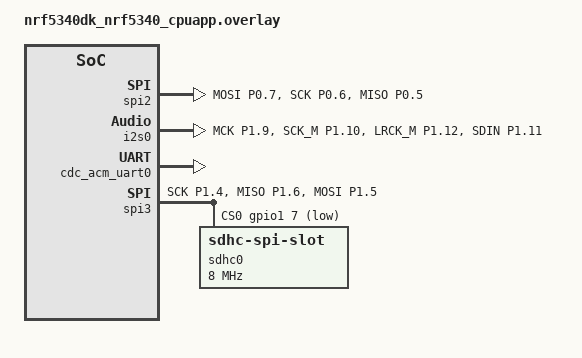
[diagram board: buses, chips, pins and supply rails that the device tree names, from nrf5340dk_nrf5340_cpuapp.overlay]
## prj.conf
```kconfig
#
# Copyright (c) 2019 Nordic Semiconductor ASA
#
# SPDX-License-Identifier: LicenseRef-BSD-5-Clause-Nordic
#
# General config
CONFIG_ASSERT=y

CONFIG_USE_SEGGER_RTT=y

# RTT
# CONFIG_USE_SEGGER_RTT=y
CONFIG_RTT_CONSOLE=y
CONFIG_UART_CONSOLE=n

# Logging
# CONFIG_UART_CONSOLE=y
CONFIG_SERIAL=y

# Stacks and heaps
CONFIG_MAIN_STACK_SIZE= 4096
CONFIG_HEAP_MEM_POOL_SIZE= 4096
CONFIG_SYSTEM_WORKQUEUE_STACK_SIZE=4096

CONFIG_SPI=y

# I2S
CONFIG_I2S=y

# Rebooot
CONFIG_REBOOT=n
CONFIG_RESET_ON_FATAL_ERROR=n

# printk float
CONFIG_FPU=y

# debug
CONFIG_DEBUG=y

# usb uart
CONFIG_STDOUT_CONSOLE=y
CONFIG_LOG=n
CONFIG_SERIAL=y
CONFIG_UART_INTERRUPT_DRIVEN=y
CONFIG_UART_LINE_CTRL=y

CONFIG_UART_INTERRUPT_DRIVEN=y
CONFIG_UART_LINE_CTRL=y

CONFIG_USB_DEVICE_STACK=y
CONFIG_USB_DEVICE_PRODUCT="bat_tag"
CONFIG_USB_DEVICE_PID=0x0002
CONFIG_USB_COMPOSITE_DEVICE=y
CONFIG_USB_CDC_ACM_RINGBUF_SIZE=512
CONFIG_USB_DEVICE_INITIALIZE_AT_BOOT=n

# SD card
CONFIG_DISK_DRIVER_SDMMC=y
CONFIG_FILE_SYSTEM=y
CONFIG_FAT_FILESYSTEM_ELM=y

############################# bluetooth

CONFIG_BT=y
CONFIG_BT_PERIPHERAL=y
CONFIG_BT_DEVICE_NAME="Bat_tag"
CONFIG_BT_DEVICE_APPEARANCE=833
CONFIG_BT_MAX_CONN=1
CONFIG_BT_MAX_PAIRED=1

# Enable the NUS service
CONFIG_BT_NUS=y

# Enable bonding
CONFIG_BT_SETTINGS=y
CONFIG_FLASH=y
CONFIG_FLASH_PAGE_LAYOUT=y
CONFIG_FLASH_MAP=y
CONFIG_NVS=y
CONFIG_SETTINGS=y

# Enable DK LED and Buttons library
CONFIG_DK_LIBRARY=y

# secure
CONFIG_BT_SMP=y

#
# Try to increase the MTU (max transmission unit) beyond the default 20.
# https://devzone.nordicsemi.com/f/nordic-q-a/84487/ble-uart-nus-altering-mtu-and-faster-interval
#
CONFIG_BT_BUF_ACL_RX_SIZE=251
CONFIG_BT_ATT_PREPARE_COUNT=2
#CONFIG_BT_CONN_TX_MAX=10
CONFIG_BT_L2CAP_TX_BUF_COUNT=10
CONFIG_BT_L2CAP_TX_MTU=247
#CONFIG_BT_L2CAP_DYNAMIC_CHANNEL=y
CONFIG_BT_CTLR_RX_BUFFERS=2
CONFIG_BT_BUF_ACL_TX_COUNT=10
CONFIG_BT_BUF_ACL_TX_SIZE=251
CONFIG_BT_CTLR_DATA_LENGTH_MAX=251

# This gets us direct access to the lower level GATT functions.
CONFIG_BT_GATT_CLIENT=y
CONFIG_BT_USER_PHY_UPDATE=y
CONFIG_BT_USER_DATA_LEN_UPDATE=y


# Use 2Mbps radio speed.
CONFIG_BT_CTLR_PHY_2M=y
CONFIG_MAIN_STACK_SIZE= 2048
```

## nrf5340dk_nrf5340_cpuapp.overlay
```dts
/*
Only one of the following peripherals can be enabled: SPI1, SPIM1, SPIS1, TWI1, TWIM1, TWIS1, UARTE1
if instance x (where 0<=x<=3) is used by one of the peripherals, none of the other peripherals can use the same instance.
https://devzone.nordicsemi.com/f/nordic-q-a/62899/nrf9160---only-one-of-the-following-peripherals-can-be-enabled-spi1-uarte1-why
*/

// ICM42688
spi_dev2: &spi2 {
	status = "okay";
	cs-gpios = <&gpio0 4 GPIO_ACTIVE_LOW>;
	compatible = "nordic,nrf-spim";
	pinctrl-0 = <&spi2_default>;
	pinctrl-1 = <&spi2_sleep>;
	pinctrl-names = "default", "sleep";
	// clock-frequency = <8000000>; 
};

//////////////////////////////// Microphone
//////// PDM interface
// &clock {
// 	hfclkaudio-frequency = <11289600>;
// };


///////// I2S interface
i2s_rx_dev: &i2s0 {
	status = "okay";
	pinctrl-0 = <&i2s0_default>;
	pinctrl-names = "default";
	// clock-source = "ACLK";
};

&pinctrl {
	spi2_default: spi2_default{
		group1 {
			psels = <NRF_PSEL(SPIM_MOSI, 0, 7)>,
				<NRF_PSEL(SPIM_SCK, 0, 6)>,
				<NRF_PSEL(SPIM_MISO, 0, 5)>;
		};
	};

	spi2_sleep: spi2_sleep{
		group1 {
			psels = <NRF_PSEL(SPIM_MOSI, 0, 7)>,
				<NRF_PSEL(SPIM_SCK, 0, 6)>,
				<NRF_PSEL(SPIM_MISO, 0, 5)>;
			low-power-enable;
		};
	};


	// We now use I2S interface instead of PDM to get bit stream
	i2s0_default: i2s0_default{
		group1{
			// need to define MCK, LRCK_M, even though we don't wire them with PDM mic
			// otherwise I2S driver will not work
			psels = <NRF_PSEL(I2S_MCK,1,9)>,
					<NRF_PSEL(I2S_SCK_M,1,10)>,
					<NRF_PSEL(I2S_LRCK_M,1,12)>,
					<NRF_PSEL(I2S_SDIN,1,11)>;				
		};
	};

	spi3_default: spi3_default{
		group1 {
			psels = <NRF_PSEL(SPIM_SCK, 1, 4)>,
					<NRF_PSEL(SPIM_MISO, 1, 6)>,
					<NRF_PSEL(SPIM_MOSI, 1, 5)>;
		};
	};
};

// UART
&zephyr_udc0 {
	cdc_acm_uart0: cdc_acm_uart0 {
		compatible = "zephyr,cdc-acm-uart";
	};
};


// SD card with SPI interface
&spi3 {
	status = "okay";
	cs-gpios = <&gpio1 7 GPIO_ACTIVE_LOW>;
	pinctrl-0 = <&spi3_default>;
	pinctrl-names = "default";
	sdhc0: sdhc@0 {
			compatible = "zephyr,sdhc-spi-slot";
			reg = <0>;
			status = "okay";
			mmc {
				compatible = "zephyr,sdmmc-disk";
				status = "okay";
			};
			spi-max-frequency = <8000000>;
	};
};
```

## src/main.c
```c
#include "icm42688.h"
#include "pdm_microphone.h"

#ifndef BT_H
#define BT_H 1
#include "bt.h"
#endif

#ifndef SDCARD_H
#define SDCARD_H 1
#include "SDcard.h"
#endif

#include <nrfx_log.h>
#include <nrfx_gpiote.h>

/////////////////////////////////////////////////////////////////////////// Define circular buffer
#define N_circular_buf 1024
typedef struct {
    short *buf; // actuall capacity = N-1
    int write_idx; // idx to write into circular buf
    int read_idx; // idx to read out from circular buf
} circular_buf;

static short imu_cbuf[N_circular_buf]; // IMU circular buffer
// IMU sample data circular buffer
circular_buf imu_circle_buf = {
    .buf = imu_cbuf,
    .write_idx = 0,
    .read_idx = 0
};

static uint16_t imu_count_idx[1]={0};
static short imu_count_buf[N_circular_buf]; // IMU count circular buffer
// IMU sample count circular buffer
circular_buf count_circle_buf = {
    .buf = imu_count_buf,
    .write_idx = 0,
    .read_idx = 0
};

bool is_empty(circular_buf *buf) {
    if (buf->read_idx == buf->write_idx) {
        return true;
    }
    else {
        return false;
    }
}

bool is_full(circular_buf *buf) {
    if ((buf->write_idx + 1) % N_circular_buf == buf->read_idx) {
        return true;
    }
    else {
        return false;
    }
}

int buf_length(circular_buf *buf) {
    // NRF_GPIOTE->INTENCLR |= 0x00000080;
    int temp = (buf->write_idx - buf->read_idx + N_circular_buf) % N_circular_buf;
    // NRF_GPIOTE->INTENSET |= 0x00000080;
    return temp;
}

int write_in_buf(circular_buf *buf, short *value, int L) {
    // L should be sizeof(value)/sizeof(short)
    if (L + buf_length(buf) > N_circular_buf-1) {
        printk("circular_buf out of range\n");
        return -1;
    }
    
    for (int i = 0;i < L;i++) {
        buf->buf[buf->write_idx] = value[i];
        buf->write_idx = (buf->write_idx + 1) % N_circular_buf;
    }
    return 0;
}

int read_out_buf(circular_buf *buf, short *value, uint16_t *buf_l) {
    uint16_t L = (uint16_t)buf_length(buf);
    buf_l[0] = L;
    for (int i=0;i<L;i++) {
        value[i] = buf->buf[buf->read_idx];
        buf->read_idx = (buf->read_idx + 1) % N_circular_buf;
    }
    // if (L > 0) {
    //     printk("buf_length=%d\n, write_idx=%d, read_idx=%d\n",L, buf->write_idx, buf->read_idx);
    // }
    return 0;
}
/////////////////////////////////////////////////////////////////////////// finish define circular buf


/// SD card data file
static struct fs_file_t mic_file, imu_file, imu_t_file, imu_count_file;

static short imu_rbuf[6]; // small read buf to get direct data each time IRQ
static short imu_buf[N_circular_buf]; // IMU buffer
static short imu_cw_buf[N_circular_buf]; // IMU count write buffer
static int32_t imu_t[1]; // timestamp for each IMU sample
// static short *imu_p = &imu_buf[0]; // pointer to current buffer head
static uint16_t ICM_count = 0; // sample count within the buffer, be really careful with uint8_t and int8_t
static uint16_t ICM_cw=0;

/////// ICM thread
struct k_thread ICM_thread_data;
/*ICM processing thread*/
#define ICM_THREAD_STACK_SIZE 2048
/* ICM thread is a priority cooperative thread, less than PDM mic*/
#define ICM_THREAD_PRIORITY -16
K_THREAD_STACK_DEFINE(ICM_thread_stack_area, ICM_THREAD_STACK_SIZE);
K_SEM_DEFINE(ICM_thread_semaphore, 0, 1);
K_SEM_DEFINE(processing_thread_semaphore, 0, 1);
// K_SEM_DEFINE(ICM_write_semaphore, 1, 1);

static void ICM_thread_entry_point(void *p1, void *p2, void *p3) {
    while (true) {
        if (k_sem_take(&ICM_thread_semaphore, K_FOREVER) == 0) {
            
            // NRF_P0->PIN_CNF[12] = 1;
            // NRF_P0->OUTSET |= 1 << 12;

            ICM_readSensor();
            memcpy(imu_rbuf,&IMU_data[0],sizeof(IMU_data));   
            // imu_t[ICM_count] = k_cycle_get_32();

            // write data into circular buf
            write_in_buf(&imu_circle_buf,imu_rbuf,6);

            imu_count_idx[0]++;
            write_in_buf(&count_circle_buf, imu_count_idx,1);

            // ICM_count++;
            // imu_p = &imu_buf[6*ICM_count];

            // fs_write(&imu_file,&IMU_data[0],sizeof(IMU_data));    
            // k_sem_give(&ICM_write_semaphore);

            // NRF_P0->OUTCLR |= 1 << 12;

            // printk("ICM th end\n");
    }
}
}

ISR_DIRECT_DECLARE(ICM_handler)
{   
    // NRF_P0->PIN_CNF[11] = 1;
    // NRF_P0->OUTSET |= 1 << 11;

    // https://github.com/gcmcnutt/HeadTracker/blob/4d5e3fb4793d519110b5812090c64401381d3b56/firmware/src/src/targets/nrf52/PPMIn.cpp#L191
    ISR_DIRECT_HEADER();
    // printk("EVENTS_IN[7]=%d, CONFIG[7].PSEL=0x%x\n",NRF_GPIOTE0->EVENTS_IN[7],NRF_GPIOTE0->CONFIG[7]);
    if (NRF_GPIOTE0->EVENTS_IN[7]) {
            k_sem_give(&ICM_thread_semaphore);
            NRF_GPIOTE0->EVENTS_IN[7] = 0;
        }

    // NRF_P0->OUTCLR |= 1 << 11;

    return 0;
}

////////////////////////// I2S PDM mic

/* Flag indicating which buffer pair is currently available for
   processing/rendering. */
static int processing_buffers_1 = 0;

/* Indicates if the current buffer pair is being processed/rendered. */
atomic_t processing_in_progress = ATOMIC_INIT(0x00);
/* Indicates if a dropout occurred, i.e that audio buffers were
   not processed in time for the next buffer swap. */
atomic_t dropout_occurred = ATOMIC_INIT(0x00);

static uint32_t mic_t[1];


#define BYTES_PER_SAMPLE 4
#define AUDIO_BUFFER_N_SAMPLES 8192
#define AUDIO_BUFFER_BYTE_SIZE (BYTES_PER_SAMPLE * AUDIO_BUFFER_N_SAMPLES)
#define AUDIO_BUFFER_WORD_SIZE (AUDIO_BUFFER_BYTE_SIZE / 4)

/* Use two pairs of rx/tx buffers for double buffering,
   i.e process/render one pair of buffers while the other is
   being received/transfered. */
static int32_t __attribute__((aligned(4))) rx_1[AUDIO_BUFFER_N_SAMPLES];
static int32_t __attribute__((aligned(4))) rx_2[AUDIO_BUFFER_N_SAMPLES];
nrfx_i2s_buffers_t nrfx_i2s_buffers_1 = {
    .p_rx_buffer = (uint32_t *)(&rx_1), .p_tx_buffer = NULL
};
nrfx_i2s_buffers_t nrfx_i2s_buffers_2 = {
    .p_rx_buffer = (uint32_t *)(&rx_2), .p_tx_buffer = NULL
};

// learn I2S thread from https://github.com/stuffmatic/microdsp-zephyr-demos/blob/497e0bb7fc23103827d3e283d5374ed00ea315c7/src/i2s.c#L63
/*Audio processing thread*/
#define PROCESSING_THREAD_STACK_SIZE 2048
/* Processing thread is a top priority cooperative thread */
#define PROCESSING_THREAD_PRIORITY -15
K_THREAD_STACK_DEFINE(processing_thread_stack_area, PROCESSING_THREAD_STACK_SIZE);
struct k_thread processing_thread_data;

static void processing_thread_entry_point(void *p1, void *p2, void *p3) {
    while (true) {
        

        if (k_sem_take(&processing_thread_semaphore, K_USEC(1)) == 0) {


            if (atomic_test_bit(&dropout_occurred, 0)) {
                printk("dropout_occurred\n");
                atomic_clear_bit(&dropout_occurred, 0);
            }

            

            if (!atomic_test_bit(&processing_in_progress, 0)) {
                printk("processing_in_progress is not set");
                __ASSERT(atomic_test_bit(&processing_in_progress, 0), "processing_in_progress is not set");
            }

            nrfx_i2s_buffers_t* buffers_to_process = processing_buffers_1 ? &nrfx_i2s_buffers_1 : &nrfx_i2s_buffers_2;
            int32_t *rx = (int32_t *)buffers_to_process->p_rx_buffer;

            
            ///////////////// somehow mic_data and IMU_data fs_write together can work
            fs_write(&mic_file,&rx[0],AUDIO_BUFFER_BYTE_SIZE); 

            /* Swap buffers */
            nrfx_err_t result = nrfx_i2s_next_buffers_set(buffers_to_process);
            if (result != NRFX_SUCCESS) {
                /* printk("nrfx_i2s_next_buffers_set failed with %d\n", result); */
                __ASSERT(result == NRFX_SUCCESS, "nrfx_i2s_next_buffers_set failed with result %d", result);
            }
            processing_buffers_1 = !processing_buffers_1;   

            


            // can use this as timestamp of next audio buffer start
            imu_t[0] = k_cycle_get_32();
            fs_write(&imu_t_file,&imu_t,sizeof(imu_t));

            // we record IMU and change ICM_count with circular buffer during IMU data writing
            
            // NRF_P0->PIN_CNF[26] = 1;
            // NRF_P0->OUTSET |= 1 << 26;

            // NRFX_IRQ_DISABLE(GPIOTE0_IRQn);
            // NVIC_DisableIRQ(GPIOTE0_IRQn);
            // irq_disable(GPIOTE0_IRQn);
            // NRF_GPIOTE->INTENCLR |= 0x00000080;
                //read out circualr buf
                read_out_buf(&imu_circle_buf,imu_buf,&ICM_count);
                
                read_out_buf(&count_circle_buf, imu_cw_buf, &ICM_cw);

                // printk("ICM_count=%d, ICM_cw=%d\n",ICM_count,ICM_cw);

                // fs_write(&imu_count_file,&ICM_count,sizeof(ICM_count));
                fs_write(&imu_count_file, &imu_cw_buf,ICM_cw*sizeof(short));
                fs_write(&imu_file, &imu_buf,ICM_count*sizeof(short));
                // ICM_count = 0;
                // imu_p = &imu_buf[ICM_count];
            // NRF_GPIOTE->INTENSET |= 0x00000080;
            // NVIC_EnableIRQ(GPIOTE0_IRQn);
            // irq_enable(GPIOTE0_IRQn);
            // NRFX_IRQ_ENABLE(GPIOTE0_IRQn);

            // NRF_P0->OUTCLR |= 1 << 26;
        

            

            
            
            /* Done audio processing */
            atomic_clear_bit(&processing_in_progress, 0);
        }
        
    }
}

ISR_DIRECT_DECLARE(i2s_isr_handler)
{
    nrfx_i2s_irq_handler();
    // ISR_DIRECT_PM();
    return 1;
}

void nrfx_i2s_data_handler(nrfx_i2s_buffers_t const *p_released, uint32_t status)
{   
    
    if (status == NRFX_I2S_STATUS_NEXT_BUFFERS_NEEDED) {
        if (atomic_test_bit(&processing_in_progress, 0) == false) {
            atomic_set_bit(&processing_in_progress, 0);
            k_sem_give(&processing_thread_semaphore);
        } else {
            /* Missed deadline! */
            atomic_set_bit(&dropout_occurred, 0);
        }
    }
    else if (status == NRFX_I2S_STATUS_TRANSFER_STOPPED) {
        /* */
    }

}



/*
Configure i2s driver using zephyr functions, 
which are kind of convenient and by using them we don't need to set register values and later define RX buffers.

We only care about SCK (bit stream freq) and LRCK is in fact meaningless;
change nrfx_i2s_cfg.mck_setup to choose different MCK freq
*/
static bool configure_i2s_rx(const struct device *i2s_rx_dev)
{	
	int ret;

     /* Start a dedicated, high priority thread for audio processing. */
    k_tid_t processing_thread_tid = k_thread_create(
        &processing_thread_data,
        processing_thread_stack_area,
        K_THREAD_STACK_SIZEOF(processing_thread_stack_area),
        processing_thread_entry_point,
        NULL, NULL, NULL,
        PROCESSING_THREAD_PRIORITY, 0, K_NO_WAIT
    );

    IRQ_DIRECT_CONNECT(I2S0_IRQn, 0, i2s_isr_handler, 0);

    nrfx_i2s_config_t nrfx_i2s_cfg = {
        .sck_pin = I2S_SCK,
        .lrck_pin = I2S_LRCK,
        .mck_pin = I2S_MCK,
        .sdin_pin = I2S_SDIN,
        .mck_setup = I2S_CONFIG_MCKFREQ_MCKFREQ_32MDIV32,
        .ratio = I2S_CONFIG_RATIO_RATIO_32X,
        .irq_priority = NRFX_I2S_DEFAULT_CONFIG_IRQ_PRIORITY,
        .mode = NRF_I2S_MODE_MASTER,
        .format = NRF_I2S_FORMAT_I2S,
        .alignment = NRF_I2S_ALIGN_LEFT,
        .channels = NRF_I2S_CHANNELS_STEREO,
        .sample_width = NRF_I2S_SWIDTH_32BIT
    };

    nrfx_err_t result = nrfx_i2s_init(&nrfx_i2s_cfg, &nrfx_i2s_data_handler);
    if (result != NRFX_SUCCESS) {
        printk("nrfx_i2s_init failed with result %d\n", result);
        __ASSERT(result == NRFX_SUCCESS, "nrfx_i2s_init failed with result %d", result);
        return result;
    }


	if (ret < 0) {
		printk("Failed to configure i2s rx: %d\n", ret);
		return false;
	}

	return true;
}

static int trial_count = 0;

void main(void)
{   
    int error;

    //////////////////////////// SD card
	
    setup_disk();

    lsdir(disk_mount_pt);

    //////////////////////////////////////////////// bluetooth uart 
    error = bt_enable(NULL);
	if (error) {
		led_show_error();
	}

    printk("Bluetooth initialized\n");

    k_sem_give(&ble_init_ok);

    settings_load();

    error = bt_nus_init(&nus_cb);
	if (error) {
		printk("Failed to initialize UART service (error: %d)\n", error);
		return 0;
	}

    // start advertising
    error = bt_le_adv_start(BT_LE_ADV_CONN, ad, ARRAY_SIZE(ad), sd,
			      ARRAY_SIZE(sd));
	if (error) {
		printk("Advertising failed to start (error %d)\n", error);
		return 0;
	}

    

    
    /// Here starts multiple trial loop
    while (true) {
    // wait for bluetooth command
    while (!current_conn) {
        printk("Trial %02d, Wait for bluetooth connection..\n", trial_count);
        k_msleep(1000);
    } 

    // Reset variables at the start of each trial
    {
        imu_count_idx[0]=0;
        imu_circle_buf.read_idx = 0;
        imu_circle_buf.write_idx = 0;
        count_circle_buf.read_idx = 0;
        count_circle_buf.write_idx = 0;

        processing_buffers_1 = 0;   
        

    }

    //////// mic_file for microphone audio data
    fs_file_t_init(&mic_file);
    printk("Opening mic_file path\n");
    char mic_filename[30];
	sprintf(&mic_filename, "/SD:/audio_%02d.dat", trial_count); 

    // delete mic_file if exist
    fs_unlink(mic_filename);

	error = fs_open(&mic_file, mic_filename, FS_O_CREATE | FS_O_WRITE);
    if (error) {
			printk("Error opening mic_file [%03d]\n", error);
			return 0;
		}

    ///////// imu_file for IMU data
    fs_file_t_init(&imu_file);
    printk("Opening imu_file path\n");
    char imu_filename[30];
	sprintf(&imu_filename, "/SD:/imu_%02d.dat", trial_count); 

    // delete imu_file if exist
    fs_unlink(imu_filename);

	error = fs_open(&imu_file, imu_filename, FS_O_CREATE | FS_O_WRITE);
    if (error) {
			printk("Error opening imu_file [%03d]\n", error);
			return 0;
		}

    //////// imu_t_file for ICM time data
    fs_file_t_init(&imu_t_file);
    printk("Opening imu_t_file path\n");
    char imu_t_filename[30];
	sprintf(&imu_t_filename, "/SD:/imu_t_%02d.dat",trial_count); 

    // delete imu_t_file if exist
    fs_unlink(imu_t_filename);

	error = fs_open(&imu_t_file, imu_t_filename, FS_O_CREATE | FS_O_WRITE);
    if (error) {
			printk("Error opening imu_t_file [%03d]\n", error);
			return 0;
		}

    //////// imu_count_file for ICM count data
    fs_file_t_init(&imu_count_file);
    printk("Opening imu_count_file path\n");
    char imu_count_filename[30];
	sprintf(&imu_count_filename, "/SD:/imu_c_%02d.dat",trial_count); 

    // delete imu_count_file if exist
    fs_unlink(imu_count_filename);

	error = fs_open(&imu_count_file, imu_count_filename, FS_O_CREATE | FS_O_WRITE);
    if (error) {
			printk("Error opening imu_count_file [%03d]\n", error);
			return 0;
		}


    ////////////////////////////////////////////  SPI devices IMU

    // range scale
    double ICM_GyroScale =  ICM_ADC2Float(ICM_GyroRangeVal_dps(ICM_GyroRange_idx));
    double ICM_AccelScale = ICM_ADC2Float(ICM_AccelRangeVal_G(ICM_AccelRange_idx));
    double ICM_Samplerate = ICM_SampRate(ICM_DataRate_idx);

    // check ICM binding
    if (!spi_dev2) {
        printk("SPI_2 Binding failed.");
        return;
    }
    printk("Value of NRF_SPI2->PSEL.SCK : %d \n",NRF_SPIM2->PSEL.SCK);
    printk("Value of NRF_SPI2->PSEL.MOSI : %d \n",NRF_SPIM2->PSEL.MOSI);
    printk("Value of NRF_SPI2->PSEL.MISO : %d \n",NRF_SPIM2->PSEL.MISO);
    // printk("Value of NRF_SPI2 frequency : %d \n",NRF_SPIM2->FREQUENCY);

    /// config SPI first
    ICM_SPI_config();
    
    // set ICM samping rate
    ICM_setSamplingRate(rate_idx);

    // enable interrupt
    ICM_enableINT();

    // GPIO configure interrupt
    // gpio_pin_interrupt_configure(GPIO_dev,ICM_INT_pin,GPIO_INT_EDGE_RISING);
    // gpio_init_callback(&ICM_INT_cb,ICM_INT_handler,BIT(ICM_INT_pin));

    // GPIOTE0 for secure
    IRQ_DIRECT_CONNECT(GPIOTE0_IRQn, 0, ICM_handler, 0);
    

    // try give semaphore as IMU interrupt
    // Event mode, P0.25 for interrupt, when rising edge
    // NRF_GPIOTE->CONFIG[0] = 0x00011901;
    // check NRF_GPIOTE->EVENTS_IN[0]
    nrf_gpiote_event_configure(NRF_GPIOTE0,7,25,GPIOTE_CONFIG_POLARITY_LoToHi);
    

    // enable sensor
    ICM_enableSensor();
    
    //////////////////////////////////////////////// I2S for PDM mic

    const struct device *const i2s_rx_dev = DEVICE_DT_GET(DT_NODELABEL(i2s_rx_dev));

    if (!device_is_ready(i2s_rx_dev)) {
		printk("unable to find i2s_rx device\n");	
	}
    printk("I2S device is ready\n");

    if (trial_count == 0) {
    if (!configure_i2s_rx(i2s_rx_dev)) {
        printk("Failed to config streams\n", i2s_rx_dev->name);
		return 0;
    }
    printk("I2S configured\n");
    }

    // f_actual = f_source / floor(1048576*4096/MCKFREQ)
    printk("NRF I2S0 CONFIG.MCKFREQ = %d, f_actual = %.3f\n", NRF_I2S0->CONFIG.MCKFREQ, 0.00745*NRF_I2S0->CONFIG.MCKFREQ);
   

    


    //////////////////////// START SAMPLE
    // try to use thread to read ICM data
    k_tid_t ICM_thread_tid = k_thread_create(
        &ICM_thread_data,
        ICM_thread_stack_area,
        K_THREAD_STACK_SIZEOF(ICM_thread_stack_area),
        ICM_thread_entry_point,
        NULL, NULL, NULL,
        ICM_THREAD_PRIORITY, 0, K_NO_WAIT
    );
    // gpio_add_callback(GPIO_dev, &ICM_INT_cb);

    // start I2S
    error = nrfx_i2s_start(&nrfx_i2s_buffers_1, AUDIO_BUFFER_WORD_SIZE, 0);
    printk("I2S streams started\n");

    // enable GPIOTE
    NRF_GPIOTE0->EVENTS_IN[7] = 0;
    NRF_GPIOTE->INTENSET |= 0x00000080;
    // enable gpiote event (IMU INT)
    nrf_gpiote_event_enable(NRF_GPIOTE0, 7);
    // enable GPIOTE IRQ
    NRFX_IRQ_ENABLE(GPIOTE0_IRQn);
    NVIC_EnableIRQ(GPIOTE0_IRQn);
    irq_enable(GPIOTE0_IRQn);
    
    ///////////////////////////////////////// loop
    while (current_conn){
        k_msleep(1000);
    }
    
    ///////////////////// after loop

    // nrf_i2s_int_disable(NRF_I2S0, NRF_I2S_INT_RXPTRUPD_MASK |
    //                               NRF_I2S_INT_TXPTRUPD_MASK);
    nrfx_i2s_stop();

    k_thread_abort(ICM_thread_tid);
    NRF_GPIOTE->INTENCLR |= 0x00000080;
    nrf_gpiote_event_disable(NRF_GPIOTE0, 7);
    NRFX_IRQ_DISABLE(GPIOTE0_IRQn);
    NVIC_DisableIRQ(GPIOTE0_IRQn);
    irq_disable(GPIOTE0_IRQn);
    

    k_msleep(1000);

	printk("Stream stopped\n");

	printk("File named in trial %02d successfully created\n", trial_count);		
	fs_close(&mic_file);
    fs_close(&imu_file);
    fs_close(&imu_t_file);
    fs_close(&imu_count_file);

    k_msleep(1000);
    lsdir(disk_mount_pt);
    k_msleep(1000);

    // bt_le_adv_stop();

    trial_count = trial_count + 1;
}
}
```

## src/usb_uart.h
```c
/*usb serial port output for debugging*/

#ifndef USB_UART_H
#define USB_UART_H 1
#endif

#include <stdio.h>
#include <string.h>
#include <stdlib.h>
#include <zephyr/device.h>
#include <zephyr/kernel.h>

#include <nrfx_log.h>

#include <zephyr/console/console.h>
#include <zephyr/usb/usb_device.h>
#include <zephyr/usb/usbd.h>
#include <zephyr/drivers/uart.h>


struct serial_peer {
	const struct device *dev;
//	struct serial_peer *data;
//	struct ring_buf rb;
};

#define DEFINE_SERIAL_PEER(node_id) { .dev = DEVICE_DT_GET(node_id),},

static struct serial_peer peers[] = {
	DT_FOREACH_STATUS_OKAY(zephyr_cdc_acm_uart, DEFINE_SERIAL_PEER)
};

BUILD_ASSERT(ARRAY_SIZE(peers) >= 1, "Not enough CDC ACM instances");

#define COM12 peers[0].dev


// Callback for writing to UART. Called when transaction is completed.
volatile int UART_DONE = 0;
void UART_Callback(const struct device *dev, struct uart_event *evt, void *user_data)
{
	UART_DONE = 1;
	printk("UART_Callback was called.\n");
}
```
